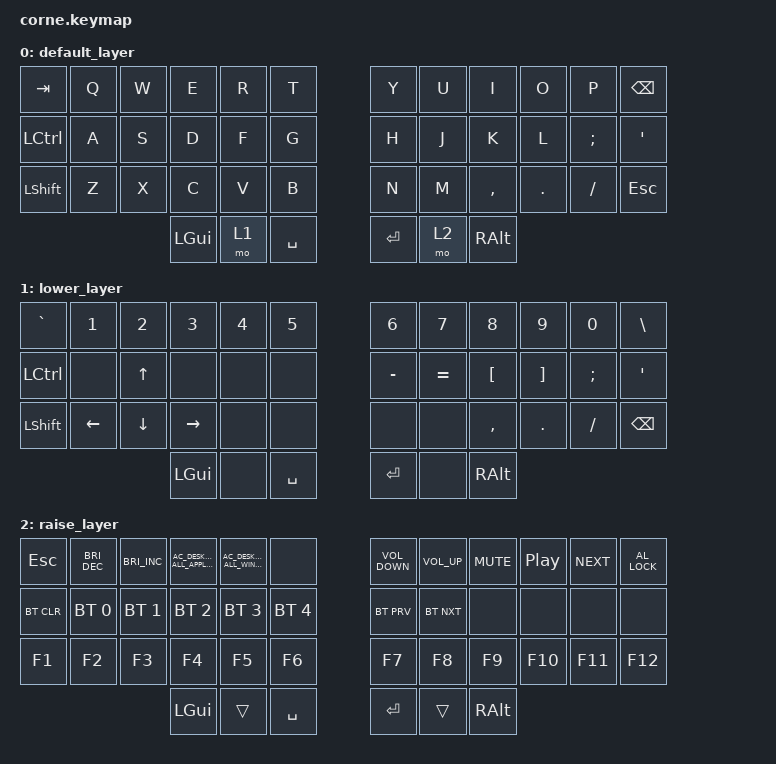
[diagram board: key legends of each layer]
/*
 * Copyright (c) 2020 The ZMK Contributors
 *
 * SPDX-License-Identifier: MIT
 */

#include <behaviors.dtsi>
#include <dt-bindings/zmk/keys.h>
#include <dt-bindings/zmk/bt.h>

/ {
    keymap {
        compatible = "zmk,keymap";

        default_layer {
            // -----------------------------------------------------------------------------------------
            // |  TAB |  Q  |  W  |  E  |  R  |  T  |   |  Y  |  U   |  I  |  O  |  P  | BKSP |
            // | CTRL |  A  |  S  |  D  |  F  |  G  |   |  H  |  J   |  K  |  L  |  ;  |  '   |
            // | SHFT |  Z  |  X  |  C  |  V  |  B  |   |  N  |  M   |  ,  |  .  |  /  | ESC  |
            //                    | GUI | LWR | SPC |   | ENT | RSE  | ALT |

            bindings = <
  &kp TAB  &kp Q  &kp W     &kp E  &kp R      &kp T      &kp Y  &kp U      &kp I    &kp O     &kp P  &kp BSPC
&kp LCTRL  &kp A  &kp S     &kp D  &kp F      &kp G      &kp H  &kp J      &kp K    &kp L  &kp SEMI   &kp SQT
&kp LSHFT  &kp Z  &kp X     &kp C  &kp V      &kp B      &kp N  &kp M  &kp COMMA  &kp DOT  &kp FSLH   &kp ESC
                         &kp LGUI  &mo 1  &kp SPACE    &kp RET  &mo 2   &kp RALT
            >;
        };

        lower_layer {
            // -----------------------------------------------------------------------------------------
            // |  TAB |  1  |  2  |  3  |  4  |  5  |   |  6  |  7  |  8  |  9  |  0  | BKSP |
            // | BTCLR| BT1 | BT2 | BT3 | BT4 | BT5 |   | LFT | DWN |  UP | RGT |     |      |
            // | SHFT |     |     |     |     |     |   |     |     |     |     |     |      |
            //                    | GUI |     | SPC |   | ENT |     | ALT |

            bindings = <
       &kp GRAVE    &kp N1    &kp N2     &kp N3  &kp N4     &kp N5       &kp N6     &kp N7            &kp N8             &kp N9         &kp N0     &kp BACKSLASH
&kp LEFT_CONTROL     &none    &kp UP      &none   &none      &none    &kp MINUS  &kp EQUAL  &kp LEFT_BRACKET  &kp RIGHT_BRACKET  &kp SEMICOLON  &kp SINGLE_QUOTE
       &kp LSHFT  &kp LEFT  &kp DOWN  &kp RIGHT   &none      &none        &none      &none         &kp COMMA         &kp PERIOD      &kp SLASH     &kp BACKSPACE
                                       &kp LGUI   &none  &kp SPACE      &kp RET      &none          &kp RALT
            >;
        };

        raise_layer {
            // -----------------------------------------------------------------------------------------
            // |  TAB |  !  |  @  |  #  |  $  |  %  |   |  ^  |  &  |  *  |  (  |  )  | BKSP |
            // | CTRL |     |     |     |     |     |   |  -  |  =  |  [  |  ]  |  \  |  `   |
            // | SHFT |     |     |     |     |     |   |  _  |  +  |  {  |  }  | "|" |  ~   |
            //                    | GUI |     | SPC |   | ENT |     | ALT |

            bindings = <
&kp ESCAPE  &kp C_BRIGHTNESS_DEC  &kp C_BRIGHTNESS_INC  &kp C_AC_DESKTOP_SHOW_ALL_APPLICATIONS  &kp C_AC_DESKTOP_SHOW_ALL_WINDOWS         &none    &kp C_VOLUME_DOWN  &kp C_VOLUME_UP  &kp C_MUTE  &kp C_PLAY_PAUSE  &kp C_NEXT  &kp C_AL_LOCK
&bt BT_CLR          &bt BT_SEL 0          &bt BT_SEL 1                            &bt BT_SEL 2                       &bt BT_SEL 3  &bt BT_SEL 4           &bt BT_PRV       &bt BT_NXT       &none             &none       &none          &none
    &kp F1                &kp F2                &kp F3                                  &kp F4                             &kp F5        &kp F6               &kp F7           &kp F8      &kp F9           &kp F10     &kp F11        &kp F12
                                                                                      &kp LGUI                             &trans     &kp SPACE              &kp RET           &trans    &kp RALT
            >;
        };
    };
};
